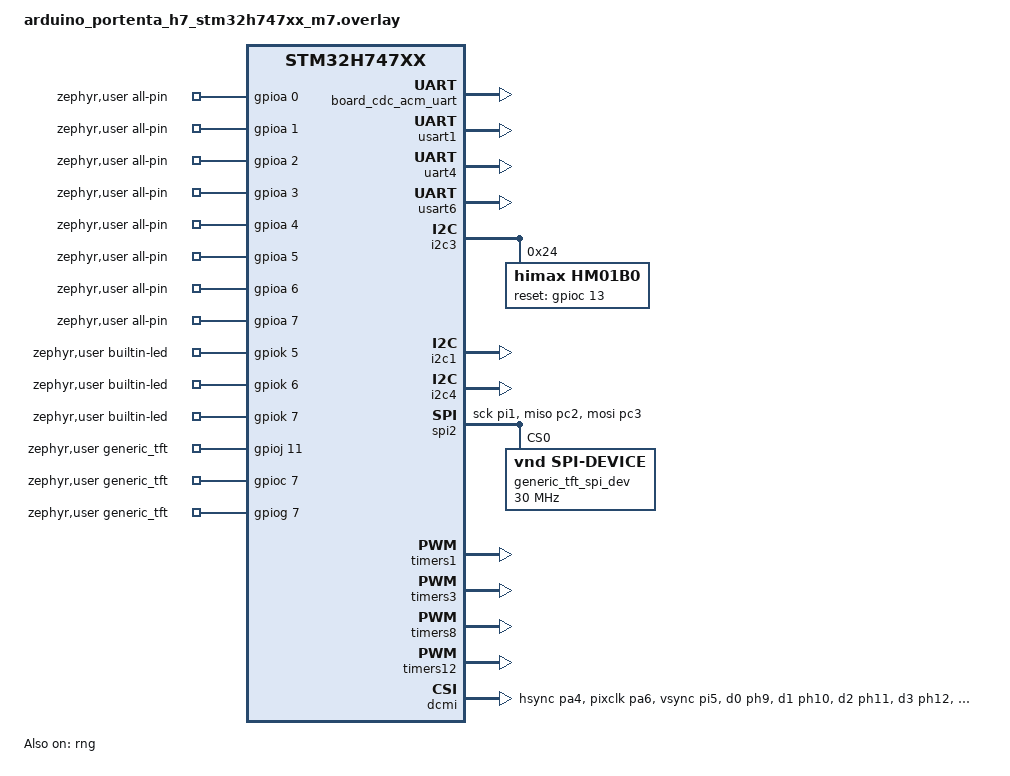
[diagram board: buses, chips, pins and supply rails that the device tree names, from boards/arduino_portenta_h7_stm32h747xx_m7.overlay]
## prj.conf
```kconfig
CONFIG_VIDEO=y
CONFIG_SHELL=y
CONFIG_DEVICE_SHELL=y
CONFIG_PRINTK=y
CONFIG_LOG=y
CONFIG_DISPLAY=y
CONFIG_REQUIRES_FLOAT_PRINTF=y
CONFIG_LOG_MODE_DEFERRED=y

CONFIG_USB_DEVICE_STACK=y
CONFIG_USB_CDC_ACM=y
CONFIG_USB_CDC_ACM_RINGBUF_SIZE=512
CONFIG_UART_LINE_CTRL=y
CONFIG_CDC_ACM_DTE_RATE_CALLBACK_SUPPORT=y



CONFIG_USB_DEVICE_STACK=y
CONFIG_USB_DRIVER_LOG_LEVEL_ERR=y
CONFIG_USB_DEVICE_LOG_LEVEL_ERR=y
CONFIG_SERIAL=y
CONFIG_UART_INTERRUPT_DRIVEN=y
CONFIG_UART_LINE_CTRL=y
CONFIG_USB_DEVICE_INITIALIZE_AT_BOOT=n

#CONFIG_VIDEO_FRAME_WIDTH=800
#CONFIG_VIDEO_FRAME_HEIGHT=600
#CONFIG_VIDEO_SOURCE_CROP_WIDTH=480
#CONFIG_VIDEO_SOURCE_CROP_HEIGHT=320
#CONFIG_VIDEO_FRAME_WIDTH=326
#CONFIG_VIDEO_FRAME_HEIGHT=244
CONFIG_VIDEO_FRAME_WIDTH=320
CONFIG_VIDEO_FRAME_HEIGHT=240
CONFIG_TEST=n
#CONFIG_VIDEO_LOG_LEVEL_DBG=y
```

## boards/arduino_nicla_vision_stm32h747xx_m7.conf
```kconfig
CONFIG_VIDEO_BUFFER_POOL_NUM_MAX=1
CONFIG_VIDEO_BUFFER_POOL_SZ_MAX=320000
CONFIG_DMA=y

# Arduino Nicla Vision has easy access to the USB console
# So use it to check the log messages
#CONFIG_USB_DEVICE_STACK=y
#CONFIG_USB_WORKQUEUE_STACK_SIZE=8192
#CONFIG_USB_DEVICE_INITIALIZE_AT_BOOT=y
#CONFIG_USB_CDC_ACM_LOG_LEVEL_OFF=y
#CONFIG_MAIN_STACK_SIZE=4096
CONFIG_USB_DEVICE_PRODUCT="Arduino Portenta H7"
CONFIG_USB_DEVICE_MANUFACTURER="Arduino"
CONFIG_USB_DEVICE_VID=0x2341
CONFIG_USB_DEVICE_PID=0x025f

#CONFIG_SERIAL=y
#CONFIG_CONSOLE=y
#CONFIG_UART_CONSOLE=y
#CONFIG_UART_LINE_CTRL=y
```

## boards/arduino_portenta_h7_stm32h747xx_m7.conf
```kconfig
CONFIG_USB_DEVICE_STACK=y
CONFIG_USB_DEVICE_PRODUCT="Arduino Portenta H7"
CONFIG_USB_DEVICE_MANUFACTURER="Arduino"
CONFIG_USB_DEVICE_VID=0x2341
CONFIG_USB_DEVICE_PID=0x005b

#CONFIG_USB_CDC_ACM=y
#CONFIG_USB_CDC_ACM_RINGBUF_SIZE=512
#CONFIG_UART_LINE_CTRL=y
#CONFIG_CDC_ACM_DTE_RATE_CALLBACK_SUPPORT=y

CONFIG_LLEXT_STORAGE_WRITABLE=n

CONFIG_SHARED_MULTI_HEAP=y
CONFIG_HEAP_MEM_POOL_SIZE=2048
CONFIG_SHELL_STACK_SIZE=32768
CONFIG_MAIN_STACK_SIZE=32768
CONFIG_LLEXT_HEAP_SIZE=128

CONFIG_PWM=y
CONFIG_DMA=y
CONFIG_MEMC=y
CONFIG_GPIO=y

#CONFIG_VIDEO_BUFFER_POOL_NUM_MAX=2
#CONFIG_VIDEO_BUFFER_POOL_SZ_MAX=320000

CONFIG_VIDEO=y
CONFIG_VIDEO_LOG_LEVEL_DBG=y
CONFIG_VIDEO_STM32_DCMI=y
CONFIG_VIDEO_BUFFER_POOL_NUM_MAX=2
CONFIG_VIDEO_BUFFER_POOL_SZ_MAX=614400
CONFIG_VIDEO_BUFFER_POOL_ALIGN=32
CONFIG_VIDEO_BUFFER_USE_SHARED_MULTI_HEAP=y
CONFIG_VIDEO_BUFFER_SMH_ATTRIBUTE=2

CONFIG_FLASH=y
CONFIG_STM32H7_BOOT_M4_AT_INIT=n 
CONFIG_STATIC_INIT_GNU=y
#CONFIG_VIDEO_GC2145=y
CONFIG_VIDEO_HIMAX_HM01B0=y

CONFIG_GPIO=y
CONFIG_PINCTRL=y
CONFIG_I2C=y

#CONFIG_SERIAL=y
#CONFIG_CONSOLE=y
#CONFIG_UART_CONSOLE=y
```

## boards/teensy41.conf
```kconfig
#CONFIG_VIDEO_BUFFER_POOL_NUM_MAX=1
#CONFIG_VIDEO_BUFFER_POOL_SZ_MAX=320000
CONFIG_DMA=y
CONFIG_VIDEO=y
CONFIG_I2C=y

CONFIG_VIDEO=y
CONFIG_VIDEO_LOG_LEVEL_DBG=y
#CONFIG_VIDEO_STM32_DCMI=y
CONFIG_VIDEO_BUFFER_POOL_NUM_MAX=3
CONFIG_VIDEO_BUFFER_POOL_SZ_MAX=614400
CONFIG_VIDEO_BUFFER_POOL_ALIGN=32
CONFIG_VIDEO_BUFFER_USE_SHARED_MULTI_HEAP=y
CONFIG_VIDEO_BUFFER_SMH_ATTRIBUTE=2
CONFIG_VIDEO_GC2145=y


CONFIG_USB_CDC_ACM=y
CONFIG_USB_CDC_ACM_RINGBUF_SIZE=512
CONFIG_UART_LINE_CTRL=y
CONFIG_CDC_ACM_DTE_RATE_CALLBACK_SUPPORT=y


CONFIG_UART_INTERRUPT_DRIVEN=y
CONFIG_USB_DEVICE_INITIALIZE_AT_BOOT=n
CONFIG_GPIO=y
CONFIG_SPI=y
CONFIG_SPI_ASYNC=y
CONFIG_POLL=y
CONFIG_STATIC_INIT_GNU=y

# Enable uart driver
CONFIG_SERIAL=y

# Console
CONFIG_CONSOLE=y
CONFIG_UART_CONSOLE=y
CONFIG_USB_CDC_ACM_LOG_LEVEL_DBG=n
#CONFIG_USB_DEVICE_STACK_NEXT=y
#CONFIG_SPI_LOG_LEVEL_DBG=y


#CONFIG_STDOUT_CONSOLE=y
CONFIG_USB_DEVICE_STACK=y
CONFIG_USB_DEVICE_PRODUCT="Teensy Serial"
CONFIG_USB_DEVICE_VID=0x16c0
CONFIG_USB_DEVICE_PID=0x0483
CONFIG_LOG=y
CONFIG_USB_DRIVER_LOG_LEVEL_ERR=y
CONFIG_USB_DEVICE_LOG_LEVEL_ERR=y
CONFIG_SERIAL=y
```

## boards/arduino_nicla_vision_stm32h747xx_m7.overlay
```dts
/*
 * Copyright 2024 Felipe Neves
 *
 * SPDX-License-Identifier: Apache-2.0
 */
/// {
//	chosen {
//		zephyr,console = &cdc_acm_uart0;
//		zephyr,shell-uart = &cdc_acm_uart0;
//	};
//};

zephyr_udc0: &usbotg_hs {
	status = "okay";
	cdc_acm_uart0: cdc_acm_uart0 {
		compatible = "zephyr,cdc-acm-uart";
	};
};

/ {
	zephyr,user {
		all-pin-gpios = 
					<&gpioa 0 0>, <&gpioa 1 0>, <&gpioa 2 0>, <&gpioa 3 0>, <&gpioa 4 0>, <&gpioa 5 0>, <&gpioa 6 0>, <&gpioa 7 0>,
				    <&gpioa 8 0>, <&gpioa 9 0>, <&gpioa 10 0>, <&gpioa 11 0>, <&gpioa 12 0>, <&gpioa 13 0>, <&gpioa 14 0>, <&gpioa 15 0>,
					<&gpiob 0 0>, <&gpiob 1 0>, <&gpiob 2 0>, <&gpiob 3 0>, <&gpiob 4 0>, <&gpiob 5 0>, <&gpiob 6 0>, <&gpiob 7 0>,
				    <&gpiob 8 0>, <&gpiob 9 0>, <&gpiob 10 0>, <&gpiob 11 0>, <&gpiob 12 0>, <&gpiob 13 0>, <&gpiob 14 0>, <&gpiob 15 0>,
					<&gpioc 0 0>, <&gpioc 1 0>, <&gpioc 2 0>, <&gpioc 3 0>, <&gpioc 4 0>, <&gpioc 5 0>, <&gpioc 6 0>, <&gpioc 7 0>,
				    <&gpioc 8 0>, <&gpioc 9 0>, <&gpioc 10 0>, <&gpioc 11 0>, <&gpioc 12 0>, <&gpioc 13 0>, <&gpioc 14 0>, <&gpioc 15 0>,
					<&gpiod 0 0>, <&gpiod 1 0>, <&gpiod 2 0>, <&gpiod 3 0>, <&gpiod 4 0>, <&gpiod 5 0>, <&gpiod 6 0>, <&gpiod 7 0>,
				    <&gpiod 8 0>, <&gpiod 9 0>, <&gpiod 10 0>, <&gpiod 11 0>, <&gpiod 12 0>, <&gpiod 13 0>, <&gpiod 14 0>, <&gpiod 15 0>,
					<&gpioe 0 0>, <&gpioe 1 0>, <&gpioe 2 0>, <&gpioe 3 0>, <&gpioe 4 0>, <&gpioe 5 0>, <&gpioe 6 0>, <&gpioe 7 0>,
				    <&gpioe 8 0>, <&gpioe 9 0>, <&gpioe 10 0>, <&gpioe 11 0>, <&gpioe 12 0>, <&gpioe 13 0>, <&gpioe 14 0>, <&gpioe 15 0>,
					<&gpioe 0 0>, <&gpioe 1 0>, <&gpioe 2 0>, <&gpioe 3 0>, <&gpioe 4 0>, <&gpioe 5 0>, <&gpioe 6 0>, <&gpioe 7 0>,
				    <&gpioe 8 0>, <&gpioe 9 0>, <&gpioe 10 0>, <&gpioe 11 0>, <&gpioe 12 0>, <&gpioe 13 0>, <&gpioe 14 0>, <&gpioe 15 0>,
					<&gpiof 0 0>, <&gpiof 1 0>, <&gpiof 2 0>, <&gpiof 3 0>, <&gpiof 4 0>, <&gpiof 5 0>, <&gpiof 6 0>, <&gpiof 7 0>,
				    <&gpiof 8 0>, <&gpiof 9 0>, <&gpiof 10 0>, <&gpiof 11 0>, <&gpiof 12 0>, <&gpiof 13 0>, <&gpiof 14 0>, <&gpiof 15 0>,
					<&gpiog 0 0>, <&gpiog 1 0>, <&gpiog 2 0>, <&gpiog 3 0>, <&gpiog 4 0>, <&gpiog 5 0>, <&gpiog 6 0>, <&gpiog 7 0>,
				    <&gpiog 8 0>, <&gpiog 9 0>, <&gpiog 10 0>, <&gpiog 11 0>, <&gpiog 12 0>, <&gpiog 13 0>, <&gpiog 14 0>, <&gpiog 15 0>,
					<&gpiog 0 0>, <&gpiog 1 0>, <&gpiog 2 0>, <&gpiog 3 0>, <&gpiog 4 0>, <&gpiog 5 0>, <&gpiog 6 0>, <&gpiog 7 0>,
				    <&gpiog 8 0>, <&gpiog 9 0>, <&gpiog 10 0>, <&gpiog 11 0>, <&gpiog 12 0>, <&gpiog 13 0>, <&gpiog 14 0>, <&gpiog 15 0>,
					<&gpioh 0 0>, <&gpioh 1 0>, <&gpioh 2 0>, <&gpioh 3 0>, <&gpioh 4 0>, <&gpioh 5 0>, <&gpioh 6 0>, <&gpioh 7 0>,
				    <&gpioh 8 0>, <&gpioh 9 0>, <&gpioh 10 0>, <&gpioh 11 0>, <&gpioh 12 0>, <&gpioh 13 0>, <&gpioh 14 0>, <&gpioh 15 0>,
					<&gpioi 0 0>, <&gpioi 1 0>, <&gpioi 2 0>, <&gpioi 3 0>, <&gpioi 4 0>, <&gpioi 5 0>, <&gpioi 6 0>, <&gpioi 7 0>,
				    <&gpioi 8 0>, <&gpioi 9 0>, <&gpioi 10 0>, <&gpioi 11 0>, <&gpioi 12 0>, <&gpioi 13 0>, <&gpioi 14 0>, <&gpioi 15 0>,
					<&gpioj 0 0>, <&gpioj 1 0>, <&gpioj 2 0>, <&gpioj 3 0>, <&gpioj 4 0>, <&gpioj 5 0>, <&gpioj 6 0>, <&gpioj 7 0>,
				    <&gpioj 8 0>, <&gpioj 9 0>, <&gpioj 10 0>, <&gpioj 11 0>, <&gpioj 12 0>, <&gpioj 13 0>, <&gpioj 14 0>, <&gpioj 15 0>,
					<&gpiok 0 0>, <&gpiok 1 0>, <&gpiok 2 0>, <&gpiok 3 0>, <&gpiok 4 0>, <&gpiok 5 0>, <&gpiok 6 0>, <&gpiok 7 0>;

	};
};
```

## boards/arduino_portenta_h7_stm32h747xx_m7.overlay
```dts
/* This is copy of the Arduino setup */
&board_cdc_acm_uart {
	status = "okay";
};

&usart1 {
	status = "okay";
};

&uart4 {
	status = "okay";
};

&usart6 {
	status = "okay";
};

&i2c3 {
	status = "okay";

	//gc2145: gc2145@3c {
	//	compatible = "galaxycore,gc2145";
	//	reg = <0x3c>;
	//	status = "okay";

	//	reset-gpios = <&gpioe 3 GPIO_ACTIVE_LOW>;
	//	pwdn-gpios = <&gpiod 5 GPIO_ACTIVE_LOW>;

	//	port {
	//		gc2145_ep_out: endpoint {
	//			remote-endpoint-label = "dcmi_ep_in";
	//		};
	//	};
	//};

	hm01b0: hm01b0@24 {
		compatible = "himax,hm01b0";
		reg = <0x24>;
		status = "okay";
		reset-gpios = <&gpioc 13 GPIO_ACTIVE_HIGH>;
		data-bits = <8>;
		port {
			hm01b0_ep_out: endpoint {
				remote-endpoint-label = "dcmi_ep_in";
			};
		};
	};
};

&i2c1 {
	status = "okay";
};

&i2c4 {
	status = "okay";
};

&spi2 {
	status = "okay";
	pinctrl-0 = <&spi2_sck_pi1
		     &spi2_miso_pc2 &spi2_mosi_pc3>;
	pinctrl-names = "default";
	/* added for sketch */
	generic_tft_spi_dev: generic_tft_spi_dev@0 {
		status = "okay";
		compatible = "vnd,spi-device";
		reg = <0>;
		spi-max-frequency = <30000000>;
		//io-channels = <&gpioj 11 GPIO_ACTIVE_HIGH>,	/* CS D2 */
		//		<&gpioc 7 GPIO_ACTIVE_HIGH>,	/* DC D4 */
		//		<&gpiog 7 GPIO_ACTIVE_HIGH>;	/* RST D3 */
		//io-channel-names = "CS", "DC", "RST";

	};

};

&timers1 {
	status = "okay";
	st,prescaler = <0>;

	pwm1: pwm {
		status = "okay";
		pinctrl-0 = <&tim1_ch1_pk1 &tim1_ch1_pa8 &tim1_ch2_pj11>;
		pinctrl-names = "default";
	};
};

&timers3 {
	status = "okay";
	st,prescaler = <100>;

	pwm3: pwm {
		status = "okay";
		pinctrl-0 = <&tim3_ch1_pc6 &tim3_ch2_pc7>;
		pinctrl-names = "default";
	};
};

&timers8 {
	status = "okay";
	st,prescaler = <100>;

	pwm8: pwm {
		status = "okay";
		pinctrl-0 = <&tim8_ch3n_ph15 &tim8_ch2_pj10 &tim8_ch2n_pj7>;
		pinctrl-names = "default";
	};
};

&timers12 {
	status = "okay";
	st,prescaler = <100>;

	pwm12: pwm {
		status = "okay";
		pinctrl-0 = <&tim12_ch1_ph6>;
		pinctrl-names = "default";
	};
};

&pwm1 {
	/* Camera source clock */
	pwmclock: pwmclock {
		status = "okay";
		compatible = "pwm-clock";
		clock-frequency = <0>;
		#clock-cells = <1>;
		pwms = <&pwm1 1 PWM_HZ(12000000) PWM_POLARITY_NORMAL>;
		/* 12MHz for 7670, default is also 12MHz */
	};
};

&rng {
	status = "okay";
};

&dmamux1 {
	status = "okay";
};

&dma1 {
	status = "okay";
};

&dcmi {
	status = "okay";
	/* ext-sdram = <&sdram1>; */
	pinctrl-0 = <&dcmi_hsync_pa4 &dcmi_pixclk_pa6 &dcmi_vsync_pi5
		     &dcmi_d0_ph9 &dcmi_d1_ph10 &dcmi_d2_ph11 &dcmi_d3_ph12
		     &dcmi_d4_ph14 &dcmi_d5_pi4 &dcmi_d6_pi6 &dcmi_d7_pi7>;
	pinctrl-names = "default";
	dmas = <&dma1 0 75 (STM32_DMA_PERIPH_TO_MEMORY | STM32_DMA_PERIPH_NO_INC |
			    STM32_DMA_MEM_INC | STM32_DMA_PERIPH_32BITS | STM32_DMA_MEM_32BITS |
			    STM32_DMA_PRIORITY_HIGH) STM32_DMA_FIFO_FULL>; //FULL for 7670, default FIFO_1_4

	port {
		dcmi_ep_in: endpoint {
			//remote-endpoint-label = "gc2145_ep_out";
			remote-endpoint-label = "hm01b0_ep_out";
			bus-width = <8>;
			hsync-active = <0>;
			vsync-active = <0>;
			pclk-sample = <1>;
		};
	};
};


/ {
	chosen {
		zephyr,camera = &dcmi;
		zephyr,console = &usart1;
		zephyr,shell-uart = &usart1;
	};

};


/ {
	zephyr,user {
		all-pin-gpios = 
					<&gpioa 0 0>,
				    <&gpioa 1 0>,
				    <&gpioa 2 0>,
				    <&gpioa 3 0>,
				    <&gpioa 4 0>,
				    <&gpioa 5 0>,
				    <&gpioa 6 0>,
				    <&gpioa 7 0>,
				    <&gpioa 8 0>,
				    <&gpioa 9 0>,
				    <&gpioa 10 0>,
				    <&gpioa 11 0>,
				    <&gpioa 12 0>,
				    <&gpioa 13 0>,
				    <&gpioa 14 0>,
				    <&gpioa 15 0>,

					<&gpiob 0 0>,
				    <&gpiob 1 0>,
				    <&gpiob 2 0>,
				    <&gpiob 3 0>,
				    <&gpiob 4 0>,
				    <&gpiob 5 0>,
				    <&gpiob 6 0>,
				    <&gpiob 7 0>,
				    <&gpiob 8 0>,
				    <&gpiob 9 0>,
				    <&gpiob 10 0>,
				    <&gpiob 11 0>,
				    <&gpiob 12 0>,
				    <&gpiob 13 0>,
				    <&gpiob 14 0>,
				    <&gpiob 15 0>,

					<&gpioc 0 0>,
				    <&gpioc 1 0>,
				    <&gpioc 2 0>,
				    <&gpioc 3 0>,
				    <&gpioc 4 0>,
				    <&gpioc 5 0>,
				    <&gpioc 6 0>,
				    <&gpioc 7 0>,
				    <&gpioc 8 0>,
				    <&gpioc 9 0>,
				    <&gpioc 10 0>,
				    <&gpioc 11 0>,
				    <&gpioc 12 0>,
				    <&gpioc 13 0>,
				    <&gpioc 14 0>,
				    <&gpioc 15 0>,

					<&gpiod 0 0>,
				    <&gpiod 1 0>,
				    <&gpiod 2 0>,
				    <&gpiod 3 0>,
				    <&gpiod 4 0>,
				    <&gpiod 5 0>,
				    <&gpiod 6 0>,
				    <&gpiod 7 0>,
				    <&gpiod 8 0>,
				    <&gpiod 9 0>,
				    <&gpiod 10 0>,
				    <&gpiod 11 0>,
				    <&gpiod 12 0>,
				    <&gpiod 13 0>,
				    <&gpiod 14 0>,
				    <&gpiod 15 0>,

					<&gpioe 0 0>,
				    <&gpioe 1 0>,
				    <&gpioe 2 0>,
				    <&gpioe 3 0>,
				    <&gpioe 4 0>,
				    <&gpioe 5 0>,
				    <&gpioe 6 0>,
				    <&gpioe 7 0>,
				    <&gpioe 8 0>,
				    <&gpioe 9 0>,
				    <&gpioe 10 0>,
				    <&gpioe 11 0>,
				    <&gpioe 12 0>,
				    <&gpioe 13 0>,
				    <&gpioe 14 0>,
				    <&gpioe 15 0>,

					<&gpioe 0 0>,
				    <&gpioe 1 0>,
				    <&gpioe 2 0>,
				    <&gpioe 3 0>,
				    <&gpioe 4 0>,
				    <&gpioe 5 0>,
				    <&gpioe 6 0>,
				    <&gpioe 7 0>,
				    <&gpioe 8 0>,
				    <&gpioe 9 0>,
				    <&gpioe 10 0>,
				    <&gpioe 11 0>,
				    <&gpioe 12 0>,
				    <&gpioe 13 0>,
				    <&gpioe 14 0>,
				    <&gpioe 15 0>,

					<&gpiof 0 0>,
				    <&gpiof 1 0>,
				    <&gpiof 2 0>,
				    <&gpiof 3 0>,
				    <&gpiof 4 0>,
				    <&gpiof 5 0>,
				    <&gpiof 6 0>,
				    <&gpiof 7 0>,
				    <&gpiof 8 0>,
				    <&gpiof 9 0>,
				    <&gpiof 10 0>,
				    <&gpiof 11 0>,
				    <&gpiof 12 0>,
				    <&gpiof 13 0>,
				    <&gpiof 14 0>,
				    <&gpiof 15 0>,

					<&gpiog 0 0>,
				    <&gpiog 1 0>,
				    <&gpiog 2 0>,
				    <&gpiog 3 0>,
				    <&gpiog 4 0>,
				    <&gpiog 5 0>,
				    <&gpiog 6 0>,
				    <&gpiog 7 0>,
				    <&gpiog 8 0>,
				    <&gpiog 9 0>,
				    <&gpiog 10 0>,
				    <&gpiog 11 0>,
				    <&gpiog 12 0>,
				    <&gpiog 13 0>,
				    <&gpiog 14 0>,
				    <&gpiog 15 0>,

					<&gpiog 0 0>,
				    <&gpiog 1 0>,
				    <&gpiog 2 0>,
				    <&gpiog 3 0>,
				    <&gpiog 4 0>,
				    <&gpiog 5 0>,
				    <&gpiog 6 0>,
				    <&gpiog 7 0>,
				    <&gpiog 8 0>,
				    <&gpiog 9 0>,
				    <&gpiog 10 0>,
				    <&gpiog 11 0>,
				    <&gpiog 12 0>,
				    <&gpiog 13 0>,
				    <&gpiog 14 0>,
				    <&gpiog 15 0>,

					<&gpioh 0 0>,
				    <&gpioh 1 0>,
				    <&gpioh 2 0>,
				    <&gpioh 3 0>,
				    <&gpioh 4 0>,
				    <&gpioh 5 0>,
				    <&gpioh 6 0>,
				    <&gpioh 7 0>,
				    <&gpioh 8 0>,
				    <&gpioh 9 0>,
				    <&gpioh 10 0>,
				    <&gpioh 11 0>,
				    <&gpioh 12 0>,
				    <&gpioh 13 0>,
				    <&gpioh 14 0>,
				    <&gpioh 15 0>,

					<&gpioi 0 0>,
				    <&gpioi 1 0>,
				    <&gpioi 2 0>,
				    <&gpioi 3 0>,
				    <&gpioi 4 0>,
				    <&gpioi 5 0>,
				    <&gpioi 6 0>,
				    <&gpioi 7 0>,
				    <&gpioi 8 0>,
				    <&gpioi 9 0>,
				    <&gpioi 10 0>,
				    <&gpioi 11 0>,
				    <&gpioi 12 0>,
				    <&gpioi 13 0>,
				    <&gpioi 14 0>,
				    <&gpioi 15 0>,

					<&gpioj 0 0>,
				    <&gpioj 1 0>,
				    <&gpioj 2 0>,
				    <&gpioj 3 0>,
				    <&gpioj 4 0>,
				    <&gpioj 5 0>,
				    <&gpioj 6 0>,
				    <&gpioj 7 0>,
				    <&gpioj 8 0>,
				    <&gpioj 9 0>,
				    <&gpioj 10 0>,
				    <&gpioj 11 0>,
				    <&gpioj 12 0>,
				    <&gpioj 13 0>,
				    <&gpioj 14 0>,
				    <&gpioj 15 0>,

					<&gpiok 0 0>,
				    <&gpiok 1 0>,
				    <&gpiok 2 0>,
				    <&gpiok 3 0>,
				    <&gpiok 4 0>,
				    <&gpiok 5 0>,
				    <&gpiok 6 0>,
				    <&gpiok 7 0>;

		builtin-led-gpios = <&gpiok 5 0>,
				    <&gpiok 6 0>,
				    <&gpiok 7 0>;

	};
};

/* This apps setup */
/ {

	zephyr,user {
		generic_tft-gpios = <&gpioj 11 GPIO_ACTIVE_HIGH>,	/* CS D2 */
						<&gpioc 7 GPIO_ACTIVE_HIGH>,	/* DC D4 */
						<&gpiog 7 GPIO_ACTIVE_HIGH>;	/* RST D3 */
						/* <&gpio1 30 GPIO_ACTIVE_LOW>;	touch cs Pin 26 */

	};
	
	chosen {


	};
};
```

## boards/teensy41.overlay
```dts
&zephyr_udc0 {
	cdc_acm_uart0 {
		compatible = "zephyr,cdc-acm-uart";
		label = "Zephyr USB CDC-ACM";
	};
};

/ {
	chosen {
		zephyr,camera = &csi;
	};
};

&lpuart6 {
	current-speed = <115200>;
	status = "okay";
};



&pinctrl {
	/* ADC1 inputs 0 and 15 */
	pinmux_adc1: pinmux_adc1 {
		group0 {
			pinmux = <&iomuxc_gpio_ad_b1_11_adc1_in0>,
				<&iomuxc_gpio_ad_b1_10_adc1_in15>;
			bias-disable;
			drive-strength = "r0-6";
			slew-rate = "slow";
			nxp,speed = "100-mhz";
		};
	};

	/* conflicts with lpuart3 and flexcan1 */
	pinmux_csi: pinmux_csi {
		group0 {
			pinmux = <&iomuxc_gpio_ad_b1_02_gpio1_io18>;
			drive-strength = "r0-6";
			bias-pull-down;
			bias-pull-down-value = "100k";
			slew-rate = "slow";
			nxp,speed = "100-mhz";
		};
		group1 {
			pinmux = <&iomuxc_gpio_ad_b1_04_csi_pixclk>,
				<&iomuxc_gpio_ad_b1_05_csi_mclk>,
				<&iomuxc_gpio_ad_b1_06_csi_vsync>,
				<&iomuxc_gpio_ad_b1_07_csi_hsync>,
				<&iomuxc_gpio_ad_b1_08_csi_data09>,
				<&iomuxc_gpio_ad_b1_09_csi_data08>,
				<&iomuxc_gpio_ad_b1_10_csi_data07>,
				<&iomuxc_gpio_ad_b1_11_csi_data06>,
				<&iomuxc_gpio_ad_b1_12_csi_data05>,
				<&iomuxc_gpio_ad_b1_13_csi_data04>,
				<&iomuxc_gpio_ad_b1_14_csi_data03>,
				<&iomuxc_gpio_ad_b1_15_csi_data02>;
			drive-strength = "r0-6";
			slew-rate = "slow";
			nxp,speed = "100-mhz";
		};
	};
};

&csi {
	status = "okay";
	pinctrl-0 = <&pinmux_csi>;
	pinctrl-names = "default";

	port {
		csi_ep_in: endpoint {
			remote-endpoint-label = "gc2145_ep_out";
			bus-width = <4>;
			hsync-active = <0>;
			vsync-active = <0>;
			pclk-sample = <0>;
		};
	};

};


&lpi2c1 {
	status = "okay";
	pinctrl-0 = <&pinmux_lpi2c1>;
	pinctrl-names = "default";

	gc2145: gc2145@3c {
		compatible = "galaxycore,gc2145";
		reg = <0x3c>;
		status = "okay";

		port {
			gc2145_ep_out: endpoint {
				remote-endpoint-label = "csi_ep_in";
			};
		};
	};
};
```

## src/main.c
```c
/*
 * Copyright (c) 2019 Linaro Limited
 * Copyright 2025 NXP
 *
 * SPDX-License-Identifier: Apache-2.0
 */

#include <zephyr/kernel.h>
#include <zephyr/device.h>

#include <zephyr/drivers/video.h>
#include <zephyr/drivers/video-controls.h>
#include <zephyr/drivers/gpio.h>
#include <stdio.h>
#include <string.h>

#include <zephyr/logging/log.h>

#include "usb_serial.h"
//#define GRAY_IMAGE

#ifdef CONFIG_TEST
LOG_MODULE_REGISTER(main, LOG_LEVEL_DBG);
#else
LOG_MODULE_REGISTER(main, CONFIG_LOG_DEFAULT_LEVEL);
#endif

#if !DT_HAS_CHOSEN(zephyr_camera)
#error No camera chosen in devicetree. Missing "--shield" or "--snippet video-sw-generator" flag?
#endif

extern void maybe_send_image(struct video_buffer *vbuf, uint16_t frame_width, uint16_t frame_height);
extern void main_loop_continuous(const struct device *video_dev, struct video_format *fmt);
extern void main_loop_snapshot(const struct device *video_dev, struct video_format *fmt);
extern void send_image(struct video_buffer *vbuf, uint16_t frame_width, uint16_t frame_height);
extern void send_raw_image(struct video_buffer *vbuf, uint16_t frame_width, uint16_t frame_height);
extern void show_all_gpio_regs();

#define F(x) x


#ifndef CONFIG_HWINFO_IMXRT


static const struct gpio_dt_spec pin_name_pins[] = {DT_FOREACH_PROP_ELEM_SEP(
	DT_PATH(zephyr_user), all_pin_gpios, GPIO_DT_SPEC_GET_BY_IDX, (, ))};


typedef enum { 
	PA_0, PA_1, PA_2, PA_3, PA_4, PA_5, PA_6, PA_7, PA_8, PA_9, PA_10, PA_11, PA_12, PA_13, PA_14, PA_15,
	PB_0, PB_1, PB_2, PB_3, PB_4, PB_5, PB_6, PB_7, PB_8, PB_9, PB_10, PB_11, PB_12, PB_13, PB_14, PB_15,
	PC_0, PC_1, PC_2, PC_3, PC_4, PC_5, PC_6, PC_7, PC_8, PC_9, PC_10, PC_11, PC_12, PC_13, PC_14, PC_15,
	PD_0, PD_1, PD_2, PD_3, PD_4, PD_5, PD_6, PD_7, PD_8, PD_9, PD_10, PD_11, PD_12, PD_13, PD_14, PD_15,
	PE_0, PE_1, PE_2, PE_3, PE_4, PE_5, PE_6, PE_7, PE_8, PE_9, PE_10, PE_11, PE_12, PE_13, PE_14, PE_15,
	PF_0, PF_1, PF_2, PF_3, PF_4, PF_5, PF_6, PF_7, PF_8, PF_9, PF_10, PF_11, PF_12, PF_13, PF_14, PF_15,
	PG_0, PG_1, PG_2, PG_3, PG_4, PG_5, PG_6, PG_7, PG_8, PG_9, PG_10, PG_11, PG_12, PG_13, PG_14, PG_15,
	PH_0, PH_1, PH_2, PH_3, PH_4, PH_5, PH_6, PH_7, PH_8, PH_9, PH_10, PH_11, PH_12, PH_13, PH_14, PH_15,
	PI_0, PI_1, PI_2, PI_3, PI_4, PI_5, PI_6, PI_7, PI_8, PI_9, PI_10, PI_11, PI_12, PI_13, PI_14, PI_15,
	PJ_0, PJ_1, PJ_2, PJ_3, PJ_4, PJ_5, PJ_6, PJ_7, PJ_8, PJ_9, PJ_10, PJ_11, PJ_12, PJ_13, PJ_14, PJ_15,
	PK_0, PK_1, PK_2, PK_3, PK_4, PK_5, PK_6, PK_7

} PinNames;

typedef enum {
  LOW     = 0,
  HIGH    = 1,
  CHANGE  = 2,
  FALLING = 3,
  RISING  = 4,
} PinStatus;


 typedef enum {
 INPUT            = 0x0,
  OUTPUT           = 0x1,
  INPUT_PULLUP     = 0x2,
  INPUT_PULLDOWN   = 0x3,
  OUTPUT_OPENDRAIN = 0x4,
} PinMode;



void pinMode(PinNames pinNumber, PinMode pinMode) {
  if (pinMode == INPUT) { // input mode
    gpio_pin_configure_dt(&pin_name_pins[pinNumber],
                          GPIO_INPUT | GPIO_ACTIVE_HIGH);
  } else if (pinMode == INPUT_PULLUP) { // input with internal pull-up
    gpio_pin_configure_dt(&pin_name_pins[pinNumber],
                          GPIO_INPUT | GPIO_PULL_UP | GPIO_ACTIVE_HIGH);
  } else if (pinMode == INPUT_PULLDOWN) { // input with internal pull-down
    gpio_pin_configure_dt(&pin_name_pins[pinNumber],
                          GPIO_INPUT | GPIO_PULL_DOWN | GPIO_ACTIVE_HIGH);
  } else if (pinMode == OUTPUT) { // output mode
    gpio_pin_configure_dt(&pin_name_pins[pinNumber],
                          GPIO_OUTPUT_LOW | GPIO_ACTIVE_HIGH);
  }
}

void digitalWrite(PinNames pinNumber, PinStatus status) {
  gpio_pin_set_dt(&pin_name_pins[pinNumber], status);
}

PinStatus digitalRead(PinNames pinNumber) {
  return (gpio_pin_get_dt(&pin_name_pins[pinNumber]) == 1) ? HIGH : LOW;
}

#endif

#define delay(ms) k_sleep(K_MSEC(ms))

int main(void)
{
	struct video_buffer *buffers[CONFIG_VIDEO_BUFFER_POOL_NUM_MAX];
	//struct video_buffer *vbuf = &(struct video_buffer){};
	const struct device *video_dev;
	struct video_format fmt;
	struct video_caps caps;
	enum video_buf_type type = VIDEO_BUF_TYPE_OUTPUT;
#if (CONFIG_VIDEO_SOURCE_CROP_WIDTH && CONFIG_VIDEO_SOURCE_CROP_HEIGHT) 
	struct video_selection sel = {
		.type = VIDEO_BUF_TYPE_OUTPUT,
	};
#endif
	//unsigned int frame = 0;
	size_t bsize;
	int i = 0;

	printf("Hello world\n");

#ifndef CONFIG_HWINFO_IMXRT
	pinMode(PC_13, OUTPUT);
	digitalWrite(PC_13, LOW);
	delay(10);
	digitalWrite(PC_13, HIGH);
	delay(10);

	show_all_gpio_regs();
#endif
	video_dev = DEVICE_DT_GET(DT_CHOSEN(zephyr_camera));
	if (!device_is_ready(video_dev)) {
		LOG_ERR("%s: video device is not ready", video_dev->name);
		return 0;
	}

	LOG_INF("Video device: %s", video_dev->name);

	/* Get capabilities */
	caps.type = type;
	if (video_get_caps(video_dev, &caps)) {
		LOG_ERR("Unable to retrieve video capabilities");
		return 0;
	}

	LOG_INF("- Capabilities:");
	while (caps.format_caps[i].pixelformat) {
		const struct video_format_cap *fcap = &caps.format_caps[i];
		/* fourcc to string */
		LOG_INF("  %s width [%u; %u; %u] height [%u; %u; %u]",
			VIDEO_FOURCC_TO_STR(fcap->pixelformat),
			fcap->width_min, fcap->width_max, fcap->width_step,
			fcap->height_min, fcap->height_max, fcap->height_step);
		i++;
	}


	/* Get default/native format */

	fmt.type = type;
	if (video_get_format(video_dev, &fmt)) {
		LOG_ERR("Unable to retrieve video format");
		return 0;
	}
	LOG_INF("video_get_format(1): ret fmt:%s w:%u h:%u",VIDEO_FOURCC_TO_STR(fmt.pixelformat), fmt.width, fmt.height);

	/* try the order of stuff mentioned by @josuah */
#ifndef USE_EXAMAPLE_ORDERS
	LOG_INF("- Video format: %s %ux%u",
		VIDEO_FOURCC_TO_STR(fmt.pixelformat), fmt.width, fmt.height);

	if (video_set_format(video_dev, &fmt)) {
		LOG_ERR("Unable to set format");
		return 0;
	}

#if CONFIG_VIDEO_FRAME_HEIGHT || CONFIG_VIDEO_FRAME_WIDTH
#if CONFIG_VIDEO_FRAME_HEIGHT
	fmt.height = CONFIG_VIDEO_FRAME_HEIGHT;
#endif

#if CONFIG_VIDEO_FRAME_WIDTH
	fmt.width = CONFIG_VIDEO_FRAME_WIDTH;
#endif
#endif	

	/* First set the format which has the size of the frame defined */
	LOG_INF("video_set_format: %u %u", fmt.width, fmt.height);
	if (video_set_format(video_dev, &fmt)) {
		LOG_ERR("Unable to set format");
		return 0;
	}

	/* initialize the bsize to the size of the frame */
	bsize = fmt.width * fmt.height * 2;
	/* Set the crop setting if necessary */
#if CONFIG_VIDEO_SOURCE_CROP_WIDTH && CONFIG_VIDEO_SOURCE_CROP_HEIGHT
	sel.target = VIDEO_SEL_TGT_CROP;
	sel.rect.left = CONFIG_VIDEO_SOURCE_CROP_LEFT;
	sel.rect.top = CONFIG_VIDEO_SOURCE_CROP_TOP;
	sel.rect.width = CONFIG_VIDEO_SOURCE_CROP_WIDTH;
	sel.rect.height = CONFIG_VIDEO_SOURCE_CROP_HEIGHT;
	LOG_INF("video_set_selection: VIDEO_SEL_TGT_CROP(%u, %u, %u, %u)", 
			sel.rect.left, sel.rect.top, sel.rect.width, sel.rect.height);
	if (video_set_selection(video_dev, &sel)) {
		LOG_ERR("Unable to set selection crop  (%u,%u)/%ux%u",
			sel.rect.left, sel.rect.top, sel.rect.width, sel.rect.height);
		return 0;
	}
	LOG_INF("Selection crop set to (%u,%u)/%ux%u",
		sel.rect.left, sel.rect.top, sel.rect.width, sel.rect.height);
	bsize = sel.rect.width * sel.rect.height * 2;
#endif

	if (video_get_format(video_dev, &fmt)) {
		LOG_ERR("Unable to retrieve video format");
		return 0;
	}
	LOG_INF("video_get_format(2): ret fmt:%s w:%u h:%u pitch:%u", VIDEO_FOURCC_TO_STR(fmt.pixelformat), fmt.width, fmt.height, fmt.pitch);
	bsize = fmt.height *fmt.pitch;


#else /* USE_EXAMAPLE_ORDERS */

	/* Set the crop setting if necessary */
#if CONFIG_VIDEO_SOURCE_CROP_WIDTH && CONFIG_VIDEO_SOURCE_CROP_HEIGHT
	sel.target = VIDEO_SEL_TGT_CROP;
	sel.rect.left = CONFIG_VIDEO_SOURCE_CROP_LEFT;
	sel.rect.top = CONFIG_VIDEO_SOURCE_CROP_TOP;
	sel.rect.width = CONFIG_VIDEO_SOURCE_CROP_WIDTH;
	sel.rect.height = CONFIG_VIDEO_SOURCE_CROP_HEIGHT;
	LOG_INF("video_set_selection: VIDEO_SEL_TGT_CROP(%u, %u, %u, %u)", 
			sel.rect.left, sel.rect.top, sel.rect.width, sel.rect.height);
	if (video_set_selection(video_dev, &sel)) {
		LOG_ERR("Unable to set selection crop  (%u,%u)/%ux%u",
			sel.rect.left, sel.rect.top, sel.rect.width, sel.rect.height);
		return 0;
	}
	LOG_INF("Selection crop set to (%u,%u)/%ux%u",
		sel.rect.left, sel.rect.top, sel.rect.width, sel.rect.height);
#endif

	LOG_INF("CONFIG_VIDEO_FRAME_HEIGHT: %u CONFIG_VIDEO_FRAME_WIDTH: %u", CONFIG_VIDEO_FRAME_HEIGHT, CONFIG_VIDEO_FRAME_WIDTH);
#if CONFIG_VIDEO_FRAME_HEIGHT || CONFIG_VIDEO_FRAME_WIDTH
#if CONFIG_VIDEO_FRAME_HEIGHT
	fmt.height = CONFIG_VIDEO_FRAME_HEIGHT;
#endif

#if CONFIG_VIDEO_FRAME_WIDTH
	fmt.width = CONFIG_VIDEO_FRAME_WIDTH;
#endif
#if 1
	/*
	 * Check (if possible) if targeted size is same as crop
	 * and if compose is necessary
	 */
	LOG_INF("video_get_selection VIDEO_SEL_TGT_CROP");
	sel.target = VIDEO_SEL_TGT_CROP;
	err = video_get_selection(video_dev, &sel);
	if (err < 0 && err != -ENOSYS) {
		LOG_ERR("Unable to get selection crop");
		return 0;
	}

	LOG_INF("video_get_selection VIDEO_SEL_TGT_CROP(%u,%u)/%ux%u",
		sel.rect.left, sel.rect.top, sel.rect.width, sel.rect.height);

	if (err == 0 && (sel.rect.width != fmt.width || sel.rect.height != fmt.height)) {
		LOG_INF("SEL!=FMT S(%u %u) F(%u %u)",  fmt.width, fmt.height, sel.rect.width, sel.rect.height);
		sel.target = VIDEO_SEL_TGT_COMPOSE;
		sel.rect.left = 0;
		sel.rect.top = 0;
		sel.rect.width = fmt.width;
		sel.rect.height = fmt.height;
		err = video_set_selection(video_dev, &sel);
		if (err < 0 && err != -ENOSYS) {
			LOG_ERR("Unable to set selection compose");
			return 0;
		}
	}
#endif

	if (strcmp(CONFIG_VIDEO_PIXEL_FORMAT, "")) {
		fmt.pixelformat = VIDEO_FOURCC_FROM_STR(CONFIG_VIDEO_PIXEL_FORMAT);
	}

#endif
	LOG_INF("- Video format: %s %ux%u",
		VIDEO_FOURCC_TO_STR(fmt.pixelformat), fmt.width, fmt.height);

	if (video_set_format(video_dev, &fmt)) {
		LOG_ERR("Unable to set format");
		return 0;
	}

	/* Size to allocate for each buffer */
	if (caps.min_line_count == LINE_COUNT_HEIGHT) {
		bsize = fmt.pitch * fmt.height;
	} else {
		bsize = fmt.pitch * caps.min_line_count;
	}
#endif /*USE_EXAMAPLE_ORDER*/

	/* Alloc video buffers and enqueue for capture */
	LOG_INF("Allocate buffers %u %u", ARRAY_SIZE(buffers), bsize);
	for (i = 0; i < ARRAY_SIZE(buffers); i++) {
		/*
		 * For some hardwares, such as the PxP used on i.MX RT1170 to do image rotation,
		 * buffer alignment is needed in order to achieve the best performance
		 */
		
		buffers[i] = video_buffer_aligned_alloc(bsize, CONFIG_VIDEO_BUFFER_POOL_ALIGN,
							K_FOREVER);
		if (buffers[i] == NULL) {
			LOG_ERR("Unable to alloc video buffer");
			return 0;
		}
		buffers[i]->type = type;
		LOG_INF(" %u Buffer: %p cb:%u", i, (void*)buffers[i]->buffer, bsize);
		video_enqueue(video_dev, buffers[i]);
	}

	/* Start video capture */
	if (video_stream_start(video_dev, type)) {
		LOG_ERR("Unable to start capture (interface)");
		return 0;
	}

	LOG_INF("Capture started");

	init_usb_serial();

	usb_serial_printf("Print to USB Serial\n");

#if CONFIG_VIDEO_BUFFER_POOL_NUM_MAX == 1
	bool snapshot_mode = true;
#else
	bool snapshot_mode = false;
#endif
	printk("snapshot_mode: %u\n", snapshot_mode);
	if (snapshot_mode) {
		main_loop_snapshot(video_dev, &fmt);
	} else {
		main_loop_continuous(video_dev, &fmt);
	}
}


void main_loop_continuous(const struct device *video_dev, struct video_format *fmt) {
	struct video_buffer *vbuf = &(struct video_buffer){};
	int err;
	unsigned int frame = 0;
	uint32_t loop_count = 0;
	while (1) {
		loop_count++;
		//if ((loop_count & 0x1f) == 0) printf(".");
		err = video_dequeue(video_dev, &vbuf, K_FOREVER);
		if (err) {
			LOG_ERR("Unable to dequeue video buf");
			continue;
		}

		if ((loop_count & 0x1f) == 0) LOG_INF("Got frame %u! size: %u; timestamp %u ms",
			frame++, vbuf->bytesused, vbuf->timestamp);

		maybe_send_image(vbuf, fmt->width, fmt->height);

		err = video_enqueue(video_dev, vbuf);
		if (err) {
			LOG_ERR("Unable to requeue video buf");
		}
	}
}

void main_loop_snapshot(const struct device *video_dev, struct video_format *fmt) {
	struct video_buffer *vbuf = &(struct video_buffer){};
	int err;
	unsigned int frame = 0;

	int ch;
	while (1) {
		while ((ch = usb_serial_read()) != -1) {
			switch(ch) {
	            case 0x10:
	                {
	                	printk("Send JPEG: %u %u - Not supported\n", fmt->width, fmt->height);
	                    usb_serial_printf("NAK CMD CAM start jpg single shoot. END");
	                    //send_jpeg();
	                    usb_serial_printf("READY. END");
	                }
	                break;
	            case 0x30:
	                {
	                	printk("Send BMP: %u %u\n", fmt->width, fmt->height);

						err = video_dequeue(video_dev, &vbuf, K_FOREVER);
						if (err) {
							LOG_ERR("Unable to dequeue video buf");
							continue;
						}

						LOG_DBG("Got frame %u! size: %u; timestamp %u ms",
							frame++, vbuf->bytesused, vbuf->timestamp);

	                    usb_serial_printf(F("ACK CMD CAM start single shoot ... "));
	                    send_image(vbuf, fmt->width, fmt->height);
	                    usb_serial_printf(F("READY. END"));
						err = video_enqueue(video_dev, vbuf);
	                }
	                break;
	            case 1:
	            	{
	            		// Hack lets try sending raw file
	            		printk("Send Raw: %u %u\n", fmt->width, fmt->height);
						err = video_dequeue(video_dev, &vbuf, K_FOREVER);
						if (err) {
							LOG_ERR("Unable to dequeue video buf");
							continue;
						}
						send_raw_image(vbuf, fmt->width, fmt->height);

	            	}
	            	break;
	            default:
	            	break;
	        }
		}
    	k_sleep(K_MSEC(50));
	}
}

	

// Pass 8-bit (each) R,G,B, get back 16-bit packed color
uint16_t color565(uint8_t r, uint8_t g, uint8_t b) {
    return ((r & 0xF8) << 8) | ((g & 0xFC) << 3) | (b >> 3);
}


inline uint16_t HTONS(uint16_t x) {
#if defined(DVP_CAMERA_OV2640) || defined(DVP_CAMERA_OV5640)
    return x;
#else  //byte reverse
    return ((x >> 8) & 0x00FF) | ((x << 8) & 0xFF00);
#endif
}

void send_image(struct video_buffer *vbuf, uint16_t frame_width, uint16_t frame_height)
{
    usb_serial_write(0xFF);
    usb_serial_write(0xAA);

    uint16_t *frameBuffer = (uint16_t*)vbuf->buffer;

    // BUGBUG:: maybe combine with the save to SD card code
    unsigned char bmpFileHeader[14] = { 'B', 'M', 0, 0, 0, 0, 0, 0, 0, 0, 54, 0, 0, 0 };
    unsigned char bmpInfoHeader[40] = { 40, 0, 0, 0, 0, 0, 0, 0, 0, 0, 0, 0, 1, 0, 24, 0 };

    int rowSize = 4 * ((3 * frame_width + 3) / 4);  // how many bytes in the row (used to create padding)
    int fileSize = 54 + frame_height * rowSize;     // headers (54 bytes) + pixel data

    bmpFileHeader[2] = (unsigned char)(fileSize);
    bmpFileHeader[3] = (unsigned char)(fileSize >> 8);
    bmpFileHeader[4] = (unsigned char)(fileSize >> 16);
    bmpFileHeader[5] = (unsigned char)(fileSize >> 24);

    bmpInfoHeader[4] = (unsigned char)(frame_width);
    bmpInfoHeader[5] = (unsigned char)(frame_width >> 8);
    bmpInfoHeader[6] = (unsigned char)(frame_width >> 16);
    bmpInfoHeader[7] = (unsigned char)(frame_width >> 24);
    bmpInfoHeader[8] = (unsigned char)(frame_height);
    bmpInfoHeader[9] = (unsigned char)(frame_height >> 8);
    bmpInfoHeader[10] = (unsigned char)(frame_height >> 16);
    bmpInfoHeader[11] = (unsigned char)(frame_height >> 24);


    usb_serial_write_buffer(bmpFileHeader, sizeof(bmpFileHeader));  // write file header
    usb_serial_write_buffer(bmpInfoHeader, sizeof(bmpInfoHeader));  // " info header

    unsigned char bmpPad[rowSize - 3 * frame_width];
    for (int i = 0; i < (int)(sizeof(bmpPad)); i++) {  // fill with 0s
        bmpPad[i] = 0;
    }

    #define PIX_PER_WRITE 1
		#ifdef GRAY_IMAGE
    uint8_t *pfb = (uint8_t*)frameBuffer;
    uint8_t *pfbRow = pfb;
    uint8_t img[3*PIX_PER_WRITE]; // See if it writes out faster
    uint8_t img_index = 0;
    for (int y = frame_height - 1; y >= 0; y--) {  // iterate image array
        pfb = pfbRow;
        for (int x = 0; x < frame_width; x++) {
            //r & 0xF8) << 8) | ((g & 0xFC) << 3) | (b >> 3
            img[img_index + 2] = *pfb;
            img[img_index + 1] = *pfb;
            img[img_index + 0] = *pfb;
            img_index += 3;
            if (img_index == sizeof(img)) {
            	usb_serial_write_buffer(img, img_index);
            	k_sleep(K_USEC(8));
            	img_index = 0;
            }
            pfb++;
        }
        if (img_index != 0) {
        	usb_serial_write_buffer(img, img_index);
        	k_sleep(K_USEC(8));
        	img_index = 0;        	
        }
        usb_serial_write_buffer(bmpPad, (4 - (frame_width * 3) % 4) % 4);  // and padding as needed
        pfbRow += frame_width;
        if ((y&0x3) == 0x3) printk("*");
    }
  	printk("\n");
    #else 
    uint16_t *pfb = frameBuffer;
    uint8_t img[3];
    for (int y = frame_height - 1; y >= 0; y--) {  // iterate image array
        pfb = &frameBuffer[y * frame_width];
        for (int x = 0; x < frame_width; x++) {
            //r & 0xF8) << 8) | ((g & 0xFC) << 3) | (b >> 3
            uint16_t pixel = HTONS(*pfb++);
            img[2] = (pixel >> 8) & 0xf8;  // r
            img[1] = (pixel >> 3) & 0xfc;  // g
            img[0] = (pixel << 3);         // b
            usb_serial_write_buffer(img, 3);
            k_sleep(K_USEC(8));

        }
        usb_serial_write_buffer(bmpPad, (4 - (frame_width * 3) % 4) % 4);  // and padding as needed
    }
    #endif

    usb_serial_write(0xBB);
    usb_serial_write(0xCC);

    usb_serial_printf(F("ACK CMD CAM Capture Done. END\n"));
    //camera.setHmirror(0);

    k_sleep(K_MSEC(50));
}

void send_raw_image(struct video_buffer *vbuf, uint16_t frame_width, uint16_t frame_height)
{
    uint8_t *pb = (uint8_t*)vbuf->buffer;
    uint32_t cb = vbuf->bytesused;
	size_t cb_write = 512;

	while (cb) {
		if (cb < 512) cb_write = 512;
		size_t cb_written = usb_serial_write_buffer(pb, cb_write);
		if (!cb_written) {
			printk("Failed to write buffer");
			break;
		}
		cb -= cb_written;
	}   
}

void maybe_send_image(struct video_buffer *vbuf, uint16_t frame_width, uint16_t frame_height) {
	int ch;
	while ((ch = usb_serial_read()) != -1) {
		switch(ch) {
            case 0x10:
                {
                	printk("Send JPEG: %u %u - Not supported\n", frame_width, frame_height);
                    usb_serial_printf("NAK CMD CAM start jpg single shoot. END");
                    //send_jpeg();
                    usb_serial_printf("READY. END");
                }
                break;
            case 0x30:
                {
                	printk("Send BMP: %u %u\n", frame_width, frame_height);
                    usb_serial_printf(F("ACK CMD CAM start single shoot ... "));
                    send_image(vbuf, frame_width, frame_height);
                    usb_serial_printf(F("READY. END"));
                }
                break;
            default:
            	break;
        }

	}
}

//#ifndef CONFIG_HWINFO_IMXRT
#if 0
#include <zephyr/kernel.h>
#include <zephyr/devicetree.h>
#include <zephyr/drivers/clock_control.h>

int camera_ext_clock_enable(void)
{
	int ret;
	uint32_t rate;

	const struct device *cam_ext_clk_dev = DEVICE_DT_GET(DT_NODELABEL(pwmclock));

	if (!device_is_ready(cam_ext_clk_dev)) {
		return -ENODEV;
	}

	ret = clock_control_on(cam_ext_clk_dev, (clock_control_subsys_t)0);
	if (ret < 0) {
		return ret;
	}

	ret = clock_control_get_rate(cam_ext_clk_dev, (clock_control_subsys_t)0, &rate);
	if (ret < 0) {
		return ret;
	}

	return 0;
}

SYS_INIT(camera_ext_clock_enable, POST_KERNEL, CONFIG_CLOCK_CONTROL_PWM_INIT_PRIORITY);

#endif

#if defined(CONFIG_SHARED_MULTI_HEAP)
#include <zephyr/multi_heap/shared_multi_heap.h>

Z_GENERIC_SECTION(SDRAM1) static uint8_t __aligned(32) smh_pool[4*1024*1024];

int smh_init(void) {
    int ret = 0;
    ret = shared_multi_heap_pool_init();
    if (ret != 0) {
        return ret;
    }

    struct shared_multi_heap_region smh_sdram = {
        .attr = SMH_REG_ATTR_EXTERNAL,
        .addr = (uintptr_t) smh_pool,
        .size = sizeof(smh_pool)
    };

    ret = shared_multi_heap_add(&smh_sdram, NULL);
    if (ret != 0) {
        return ret;
    }
	return 0;
}

SYS_INIT(smh_init, POST_KERNEL, CONFIG_KERNEL_INIT_PRIORITY_DEFAULT);
#endif /*CONFIG_SHARED_MULTI_HEAP*/

#ifdef CONFIG_HWINFO_IMXRT

void show_all_gpio_regs() {
}

#else
void print_gpio_regs(const char *name, GPIO_TypeDef *port) {
  LOG_INF("GPIO%s(%p) %08X %08X %08x", name, port, port->MODER, port->AFR[0], port->AFR[1]);
  delay(25);
  //USBSerial.print("GPIO");
  //USBSerial.print(name);
  //USBSerial.print(" ");
  //USBSerial.print(port->MODER, HEX);
  //USBSerial.print(" ");
  //USBSerial.print(port->AFR[0], HEX);
  //USBSerial.print(" ");
  //USBSerial.println(port->AFR[1], HEX);
}

void print_PinConfig(const char *name, GPIO_TypeDef *port, const char *regName) {
  uint8_t buffer[80];	
  uint32_t reg = 0;
  uint8_t numPins = 0;
  uint8_t numBits = 0;
  uint8_t hack = 0;
  sprintf(buffer, "GPIO %s ", name);
  if(strcmp(regName, "M") == 0) {
    strcat(buffer, "MODER: ");
    numPins = 16;
    numBits = 2;
    hack = 0;
    reg = port->MODER;
  } else if(strcmp (regName , "AL") == 0) {
    strcat(buffer, "AFRL");
    numPins = 8;
    numBits = 4;
    hack = 0;
    reg = port->AFR[0];
  } else {
    strcat(buffer, "AFRH");
    numPins = 8;
    numBits = 4;
    hack = 1;
    reg = port->AFR[1];
  }


  for(uint8_t i = 0; i < numPins; i++) {
    unsigned  mask;
    //mask = ((1 << numBits2Extract) << startBit)
    mask = ((1 << numBits) - 1) << (i*numBits);
    //extractedBits = (value & mask) >> startBit
    //uint8_t extractedBits = (reg & mask) >> (i*numBits);
    uint8_t buffer2[10];
    sprintf(buffer2, "(%u)", i+(hack*8));
    strcat(buffer, buffer2);
  }
  LOG_INF("%s\n", buffer);
  delay(25);
}

void show_all_gpio_regs() {
  print_gpio_regs("A", (GPIO_TypeDef *)GPIOA_BASE);
  print_PinConfig("A", (GPIO_TypeDef *)GPIOC_BASE, "M");
  print_PinConfig("A", (GPIO_TypeDef *)GPIOC_BASE, "AL");
  print_PinConfig("A", (GPIO_TypeDef *)GPIOC_BASE, "AH");

  print_gpio_regs("B", (GPIO_TypeDef *)GPIOB_BASE);
  print_gpio_regs("C", (GPIO_TypeDef *)GPIOC_BASE);
  print_PinConfig("C", (GPIO_TypeDef *)GPIOC_BASE, "M");
  print_PinConfig("C", (GPIO_TypeDef *)GPIOC_BASE, "AL");
  print_PinConfig("C", (GPIO_TypeDef *)GPIOC_BASE, "AH");

  print_gpio_regs("D", (GPIO_TypeDef *)GPIOD_BASE);
  print_gpio_regs("E", (GPIO_TypeDef *)GPIOE_BASE);
  print_gpio_regs("F", (GPIO_TypeDef *)GPIOF_BASE);
  print_gpio_regs("G", (GPIO_TypeDef *)GPIOG_BASE);
  print_gpio_regs("H", (GPIO_TypeDef *)GPIOH_BASE);
  print_gpio_regs("I", (GPIO_TypeDef *)GPIOI_BASE);
  print_gpio_regs("J", (GPIO_TypeDef *)GPIOJ_BASE);
  print_gpio_regs("K", (GPIO_TypeDef *)GPIOK_BASE);
}

#endif
```

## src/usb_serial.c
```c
/*
 * Copyright (c) 2019 Linaro Limited
 * Copyright 2025 NXP
 *
 * SPDX-License-Identifier: Apache-2.0
 */

#include <zephyr/kernel.h>
#include <zephyr/device.h>

#include <zephyr/logging/log.h>

#include "usb_serial.h"
#include <zephyr/drivers/uart.h>
#include <zephyr/kernel.h>
#include <zephyr/sys/ring_buffer.h>
#include <zephyr/usb/usb_device.h>
#include <zephyr/usb/usbd.h>

LOG_MODULE_REGISTER(cdc_acm_echo, LOG_LEVEL_INF);

const struct device *const usb_uart_dev = DEVICE_DT_GET_ONE(zephyr_cdc_acm_uart);

// keeping it simple c...
enum {RX_BUFFER_SIZE=512, TX_BUFFER_SIZE=512};
static uint8_t _rx_buffer[RX_BUFFER_SIZE];
static struct ring_buf _rx_ringbuf;
static struct k_sem _rx_sem;

static uint8_t _tx_buffer[TX_BUFFER_SIZE];
static struct ring_buf _tx_ringbuf;
static struct k_sem _tx_sem;


static inline void print_baudrate(const struct device *dev)
{
	uint32_t baudrate;
	int ret;

	ret = uart_line_ctrl_get(dev, UART_LINE_CTRL_BAUD_RATE, &baudrate);
	if (ret) {
		LOG_WRN("Failed to get baudrate, ret code %d", ret);
	} else {
		LOG_INF("Baudrate %u", baudrate);
	}
}

static void interrupt_handler(const struct device *dev, void *data) {

	uint8_t buf[8];
	int length;
	int ret = 0;

	//printk("$");
	if (!uart_irq_update(usb_uart_dev)) {
		return;
	}

	while (uart_irq_rx_ready(usb_uart_dev) && ((length = uart_fifo_read(usb_uart_dev, buf, sizeof(buf))) > 0)) {
		if (length > (int)sizeof(buf)) length = (int)sizeof(buf);
		ret = ring_buf_put(&_rx_ringbuf, &buf[0], length);

		if (ret < 0) {
			break;
		}
	}


	while (uart_irq_tx_ready(usb_uart_dev) && ((length = ring_buf_size_get(&_tx_ringbuf)) > 0)) {
		if (length > (int)sizeof(buf)) length = (int)sizeof(buf);
		ring_buf_peek(&_tx_ringbuf, &buf[0], length);

		ret = uart_fifo_fill(usb_uart_dev, &buf[0], length);
		if (ret < 0) {
			break;
		} else {
			ring_buf_get(&_tx_ringbuf, &buf[0], ret);
		}
	}

	if (ring_buf_size_get(&_tx_ringbuf) == 0) {
		uart_irq_tx_disable(usb_uart_dev);
	}

}


uint32_t dtr = 0U;

void init_usb_serial()
{
	int ret;

	ret = usb_enable(NULL);

	if (ret != 0) {
		LOG_ERR("Failed to enable USB");
		return;
	}
	LOG_INF("Wait for DTR");

	// initialize our semaphores and buffers.
	k_sem_init(&_rx_sem, 1, 1);
	ring_buf_init(&_rx_ringbuf, sizeof(_rx_buffer), _rx_buffer);
	k_sem_init(&_tx_sem, 1, 1);
	ring_buf_init(&_tx_ringbuf, sizeof(_tx_buffer), _tx_buffer);

	uint8_t loop_count = 0;
	while (true) {

		uart_line_ctrl_get(usb_uart_dev, UART_LINE_CTRL_DTR, &dtr);
		if (dtr) {
			break;
		} else {
			/* Give CPU resources to low priority threads. */
			k_sleep(K_MSEC(100));

		}
#if 1
		loop_count++;
		if (loop_count > 20) {
			LOG_WRN("Waiting for DTR timeout");
			break;
		}
#endif		
	}

	LOG_INF("DTR set");

	/* They are optional, we use them to test the interrupt endpoint */
	ret = uart_line_ctrl_set(usb_uart_dev, UART_LINE_CTRL_DCD, 1);
	if (ret) {
		LOG_WRN("Failed to set DCD, ret code %d", ret);
	}

	ret = uart_line_ctrl_set(usb_uart_dev, UART_LINE_CTRL_DSR, 1);
	if (ret) {
		LOG_WRN("Failed to set DSR, ret code %d", ret);
	}

	/* Wait 100ms for the host to do all settings */
	k_msleep(100);
	print_baudrate(usb_uart_dev);
	uart_irq_callback_user_data_set(usb_uart_dev, interrupt_handler, NULL);


	// Clear the two buffers.
	k_sem_take(&_rx_sem, K_FOREVER);
	ring_buf_reset(&_rx_ringbuf);
	k_sem_give(&_rx_sem);

	k_sem_take(&_tx_sem, K_FOREVER);
	ring_buf_reset(&_tx_ringbuf);
	k_sem_give(&_tx_sem);

	// Enable the RX interrupt.
	uart_irq_rx_enable(usb_uart_dev);

}


bool received_dtr() {
	return dtr != 0;
}

size_t usb_serial_write_buffer(const uint8_t *buffer, size_t size) {
	size_t idx = 0;


	if (!received_dtr()) {
		uart_line_ctrl_get(usb_uart_dev, UART_LINE_CTRL_DTR, &dtr);
		if (!received_dtr()) return 0;
	}

	while (1) {
		k_sem_take(&_tx_sem, K_FOREVER);
		uint32_t ret = ring_buf_put(&_tx_ringbuf, &buffer[idx], size-idx);
		k_sem_give(&_tx_sem);
		if (ret < 0) {
			return 0;
		}
		idx += ret;
		if (ret == 0) {
			uart_irq_tx_enable(usb_uart_dev);
			k_yield();
		}
		if (idx == size) {
			break;
		}
	}

	uart_irq_tx_enable(usb_uart_dev);

	return size;
}

size_t usb_serial_write(uint8_t ch) {
	return usb_serial_write_buffer(&ch, 1);
}

size_t usb_serial_printf(const char *format, ...) {
	char buffer[80];
	va_list ap;
	va_start(ap, format);
	int cb_ret = vsnprintf(buffer, sizeof(buffer),format, ap);
	usb_serial_write_buffer((const uint8_t*)buffer, cb_ret);
	return cb_ret;
}

int usb_serial_available() {
	k_sem_take(&_rx_sem, K_FOREVER);
	int ret = ring_buf_size_get(&_rx_ringbuf);
	k_sem_give(&_rx_sem);

	return ret;
}

int usb_serial_availableForWrite() {
	int ret;

	k_sem_take(&_rx_sem, K_FOREVER);
	ret = ring_buf_space_get(&_rx_ringbuf);
	k_sem_give(&_rx_sem);

	return ret;
}

int usb_serial_peek() {
	uint8_t data;
	k_sem_take(&_rx_sem, K_FOREVER);
	uint32_t cb_ret = ring_buf_peek(&_rx_ringbuf, &data, 1);
	k_sem_give(&_rx_sem);

	return cb_ret? data : -1;
}

int usb_serial_read_buffer(uint8_t *buffer, size_t size) {
    k_sem_take(&_rx_sem, K_FOREVER);
    uint32_t cb_ret = ring_buf_get(&_rx_ringbuf, buffer, size);
	k_sem_give(&_rx_sem);

	return cb_ret;
}

int usb_serial_read() {
	uint8_t data;

    k_sem_take(&_rx_sem, K_FOREVER);
    uint32_t cb_ret = ring_buf_get(&_rx_ringbuf, &data, 1);
	k_sem_give(&_rx_sem);

	return cb_ret? data : -1;
}
```

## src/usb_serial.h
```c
#pragma once
#include <stdio.h>
#include <string.h>

extern void init_usb_serial();
extern size_t usb_serial_write(uint8_t ch);
extern size_t usb_serial_write_buffer(const uint8_t *buffer, size_t size);
extern size_t usb_serial_printf(const char *format, ...);

extern int usb_serial_available();
extern int usb_serial_availableForWrite();
extern int usb_serial_peek();
extern int usb_serial_read_buffer(uint8_t *buffer, size_t size); // currently not like Arduino only what is there...
extern int usb_serial_read();
extern bool received_dtr();
```
